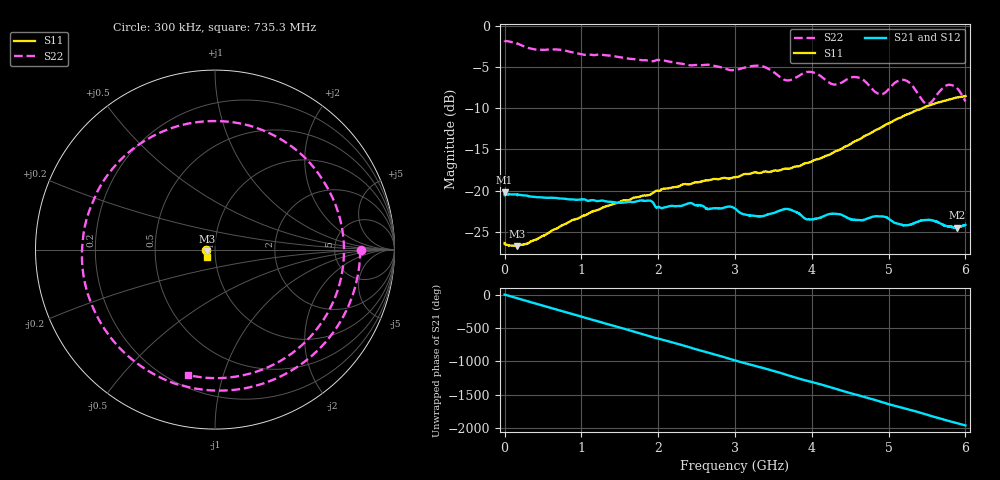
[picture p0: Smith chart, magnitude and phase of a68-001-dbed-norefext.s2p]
!  3/16/2021  20:17:26
! Ref Plane: 0.000 mm
# MHZ S MA R  50
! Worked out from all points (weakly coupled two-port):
!   10001 points, 300 kHz to 6 GHz, reference 50 ohm
!   highest |S21| = -20.23 dB at 300 kHz (marker M1); lowest = -24.5 dB at 5.888 GHz (marker M2)
!   lowest |S11| = -26.8 dB at 167.1 MHz (marker M3), VSWR 1.10, Z = 45.7 - j0.966 ohm
!   |S11| at or under -10 dB: start of sweep to 5.439 GHz
!   |S22| runs from -9.5 to -1.8 dB; largest |S21 - S12| = 0.0021
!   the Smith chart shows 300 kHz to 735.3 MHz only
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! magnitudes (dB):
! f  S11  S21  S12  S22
! 300 kHz  -26.4  -20.2  -20.4  -1.8
! 167.1 MHz  -26.8  -20.5  -20.5  -2.2
! 1 GHz  -23.2  -21.1  -21.1  -3.4
! 1.88 GHz  -20.6  -21.2  -21.2  -4.2
! 2.001 GHz  -20.0  -22.0  -22.0  -4.1
! 2.417 GHz  -19.2  -21.5  -21.5  -4.8
! 2.65 GHz  -18.7  -22.3  -22.2  -4.7
! 3 GHz  -18.4  -22.2  -22.2  -5.4
! 3.115 GHz  -18.0  -22.9  -22.9  -5.1
! 3.34 GHz  -17.8  -23.1  -23.1  -4.9
! 3.687 GHz  -17.4  -22.2  -22.2  -6.6
! 4 GHz  -16.5  -23.5  -23.5  -5.6
! 4.274 GHz  -15.4  -22.8  -22.8  -7.1
! 4.568 GHz  -14.0  -23.6  -23.6  -6.2
! 4.867 GHz  -12.5  -23.1  -23.1  -8.2
! 5 GHz  -11.8  -23.4  -23.4  -7.7
! 5.113 GHz  -11.3  -24.0  -24.0  -6.7
! 5.222 GHz  -10.8  -24.2  -24.2  -6.6
! 5.508 GHz  -9.7  -23.6  -23.5  -9.5
! 5.744 GHz  -9.0  -24.3  -24.3  -7.3
! 5.888 GHz  -8.7  -24.5  -24.5  -7.5
! 6 GHz  -8.5  -24.2  -24.1  -9.2
